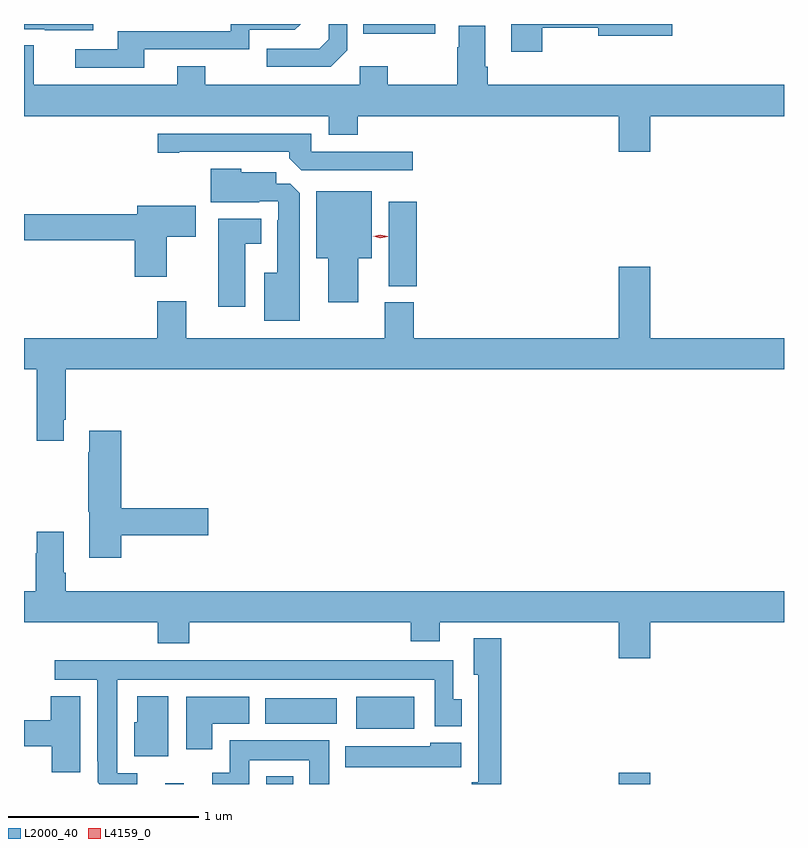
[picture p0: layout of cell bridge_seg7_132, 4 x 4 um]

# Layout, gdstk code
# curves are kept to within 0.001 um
import gdstk
lib = gdstk.Library(unit=1e-6, precision=1e-09)
def R(c, l, rs):  # rectangles x0, y0, x1, y1
    for r in rs: c.add(gdstk.rectangle(r[:2], r[2:], *l))
def P(c, l, *ps):  # polygons
    for p in ps: c.add(gdstk.Polygon(p, *l))
L2000_40 = (2000, 40)
L4159_0 = (4159, 0)

bridge_seg7_132 = lib.new_cell('bridge_seg7_132')
R(bridge_seg7_132, L2000_40, [(738.044,1018.413,738.142,1018.417), (738.576,1018.413,738.718,1018.453), (740.432,1018.413,740.596,1018.471), (739.049,1018.703,739.354,1018.873), (738.572,1018.73,738.946,1018.864), (739.22,1021.033,739.367,1021.477), (739.087,1022.363,739.465,1022.413)])
P(bridge_seg7_132, L2000_40, [(737.665,1022.413),(737.301,1022.413),(737.301,1022.385),(737.411,1022.385),(737.411,1022.381),(737.665,1022.381)],
  [(740.028,1022.394),(740.324,1022.394),(740.324,1022.351),(740.713,1022.351),(740.713,1022.413),(739.865,1022.413),(739.865,1022.268),(740.028,1022.268)],
  [(737.935,1022.28),(738.486,1022.28),(738.486,1022.382),(738.726,1022.382),(738.757,1022.413),(738.39,1022.413),(738.39,1022.376),(737.795,1022.376),(737.795,1022.28),(737.571,1022.28),(737.571,1022.184),(737.935,1022.184)],
  [(739.002,1022.274),(739.002,1022.413),(738.906,1022.413),(738.906,1022.334),(738.855,1022.283),(738.579,1022.283),(738.579,1022.187),(738.915,1022.187)],
  [(740.596,1021.928),(741.301,1021.928),(741.301,1022.092),(739.742,1022.092),(739.742,1022.188),(739.729,1022.188),(739.729,1022.404),(739.589,1022.404),(739.589,1022.291),(739.582,1022.291),(739.582,1022.092),(739.215,1022.092),(739.215,1022.191),(739.068,1022.191),(739.068,1022.092),(738.255,1022.092),(738.255,1022.191),(738.107,1022.191),(738.107,1022.092),(737.353,1022.092),(737.353,1022.3),(737.301,1022.3),(737.301,1021.928),(738.905,1021.928),(738.905,1021.829),(739.058,1021.829),(739.058,1021.928),(740.432,1021.928),(740.432,1021.74),(740.596,1021.74)],
  [(739.348,1021.74),(738.813,1021.74),(738.813,1021.836),(738.006,1021.836),(738.006,1021.735),(738.118,1021.735),(738.118,1021.74),(738.698,1021.74),(738.698,1021.706),(738.759,1021.644),(739.348,1021.644)],
  [(738.751,1021.523),(738.702,1021.572),(738.628,1021.572),(738.628,1021.633),(738.444,1021.633),(738.444,1021.651),(738.284,1021.651),(738.284,1021.475),(738.539,1021.475),(738.539,1021.479),(738.639,1021.479),(738.639,1021.379),(738.635,1021.379),(738.635,1021.105),(738.566,1021.105),(738.566,1020.851),(738.751,1020.851)],
  [(739.06,1021.181),(739.132,1021.181),(739.132,1021.534),(738.839,1021.534),(738.839,1021.181),(738.902,1021.181),(738.902,1020.948),(739.06,1020.948)],
  [(738.052,1021.294),(738.205,1021.294),(738.205,1021.456),(737.897,1021.456),(737.897,1021.412),(737.301,1021.412),(737.301,1021.276),(737.885,1021.276),(737.885,1021.083),(738.052,1021.083)],
  [(738.466,1021.256),(738.55,1021.256),(738.55,1021.387),(738.323,1021.387),(738.323,1020.924),(738.466,1020.924)],
  [(737.509,1020.331),(737.522,1020.331),(737.522,1020.596),(741.301,1020.596),(741.301,1020.76),(740.596,1020.76),(740.596,1021.135),(740.432,1021.135),(740.432,1020.76),(739.352,1020.76),(739.352,1020.948),(739.199,1020.948),(739.199,1020.76),(738.154,1020.76),(738.154,1020.955),(738.002,1020.955),(738.002,1020.76),(737.301,1020.76),(737.301,1020.596),(737.369,1020.596),(737.369,1020.219),(737.509,1020.219)],
  [(737.813,1019.722),(738.271,1019.722),(738.271,1019.864),(737.813,1019.864),(737.813,1020.271),(737.645,1020.271),(737.645,1020.158),(737.638,1020.158),(737.638,1019.847),(737.645,1019.847),(737.645,1019.604),(737.813,1019.604)],
  [(740.596,1019.264),(741.301,1019.264),(741.301,1019.428),(737.522,1019.428),(737.522,1019.524),(737.509,1019.524),(737.509,1019.74),(737.369,1019.74),(737.369,1019.627),(737.362,1019.627),(737.362,1019.428),(737.301,1019.428),(737.301,1019.264),(738.005,1019.264),(738.005,1019.153),(738.17,1019.153),(738.17,1019.264),(739.337,1019.264),(739.337,1019.165),(739.489,1019.165),(739.489,1019.264),(740.432,1019.264),(740.432,1019.076),(740.596,1019.076)],
  [(739.814,1019.179),(739.667,1019.179),(739.667,1018.989),(739.691,1018.989),(739.691,1018.422),(739.658,1018.422),(739.658,1018.413),(739.814,1018.413)],
  [(737.896,1018.47),(737.791,1018.47),(737.791,1018.961),(739.464,1018.961),(739.464,1018.716),(739.606,1018.716),(739.606,1018.86),(739.561,1018.86),(739.561,1019.065),(737.463,1019.065),(737.463,1018.961),(737.687,1018.961),(737.688,1018.423),(737.698,1018.413),(737.896,1018.413)],
  [(737.596,1018.876),(737.441,1018.876),(737.441,1018.748),(737.301,1018.748),(737.301,1018.612),(737.446,1018.612),(737.446,1018.475),(737.596,1018.475)],
  [(738.061,1018.876),(737.897,1018.876),(737.897,1018.737),(737.882,1018.737),(737.882,1018.56),(738.061,1018.56)],
  [(738.292,1018.73),(738.487,1018.73),(738.487,1018.873),(738.155,1018.873),(738.155,1018.596),(738.292,1018.596)],
  [(738.487,1018.538),(738.803,1018.538),(738.803,1018.413),(738.907,1018.413),(738.907,1018.642),(738.383,1018.642),(738.383,1018.473),(738.291,1018.473),(738.291,1018.413),(738.487,1018.413)],
  [(739.603,1018.63),(739.44,1018.63),(739.44,1018.612),(738.992,1018.612),(738.992,1018.502),(739.603,1018.502)])
P(bridge_seg7_132, L4159_0, [(739.177,1021.285),(739.139,1021.296),(739.139,1021.296),(739.139,1021.296),(739.177,1021.305),(739.215,1021.295),(739.215,1021.294),(739.215,1021.294)])

lib.write_gds('bridge_seg7_132.gds')
